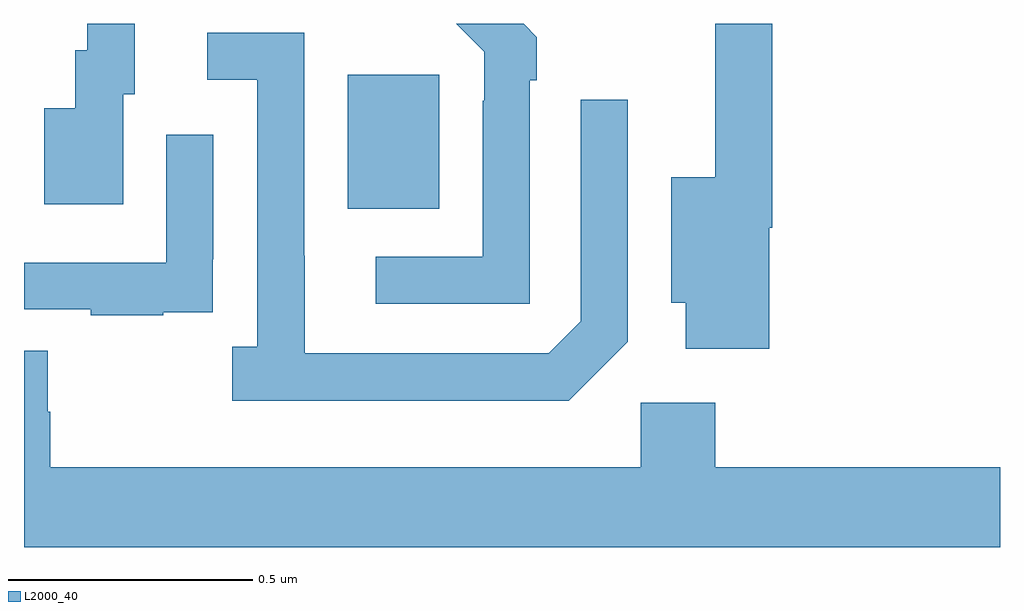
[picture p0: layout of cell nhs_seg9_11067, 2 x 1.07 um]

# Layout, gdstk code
import gdstk
lib = gdstk.Library(unit=1e-6, precision=1e-09)
def R(c, l, rs):  # rectangles x0, y0, x1, y1
    for r in rs: c.add(gdstk.rectangle(r[:2], r[2:], *l))
def P(c, l, *ps):  # polygons
    for p in ps: c.add(gdstk.Polygon(p, *l))
L2000_40 = (2000, 40)

nhs_seg9_11067 = lib.new_cell('nhs_seg9_11067')
R(nhs_seg9_11067, L2000_40, [(251.663,1189.121,251.851,1189.396)])
P(nhs_seg9_11067, L2000_40, [(252.527,1189.082),(252.533,1189.082),(252.533,1189.5),(252.416,1189.5),(252.416,1189.186),(252.326,1189.186),(252.326,1188.929),(252.356,1188.929),(252.356,1188.834),(252.527,1188.834)],
  [(251.203,1189.356),(251.227,1189.356),(251.227,1189.5),(251.13,1189.5),(251.13,1189.446),(251.105,1189.446),(251.105,1189.327),(251.042,1189.327),(251.042,1189.131),(251.203,1189.131)],
  [(252.036,1189.385),(252.051,1189.385),(252.051,1189.473),(252.024,1189.5),(251.886,1189.5),(251.943,1189.443),(251.943,1189.343),(251.94,1189.343),(251.94,1189.023),(251.721,1189.023),(251.721,1188.927),(252.036,1188.927)],
  [(252.237,1188.849),(252.237,1189.345),(252.141,1189.345),(252.141,1188.891),(252.075,1188.825),(251.575,1188.825),(251.575,1189.025),(251.574,1189.025),(251.574,1189.482),(251.376,1189.482),(251.376,1189.386),(251.478,1189.386),(251.478,1188.838),(251.427,1188.838),(251.427,1188.728),(252.116,1188.728)],
  [(251.285,1188.909),(251.387,1188.909),(251.387,1189.018),(251.388,1189.018),(251.388,1189.273),(251.292,1189.273),(251.292,1189.011),(251,1189.011),(251,1188.915),(251.137,1188.915),(251.137,1188.903),(251.285,1188.903)],
  [(253,1188.592),(252.416,1188.592),(252.416,1188.724),(252.264,1188.724),(252.264,1188.592),(251.054,1188.592),(251.054,1188.705),(251.049,1188.705),(251.049,1188.83),(251,1188.83),(251,1188.428),(253,1188.428)])

lib.write_gds('nhs_seg9_11067.gds')
